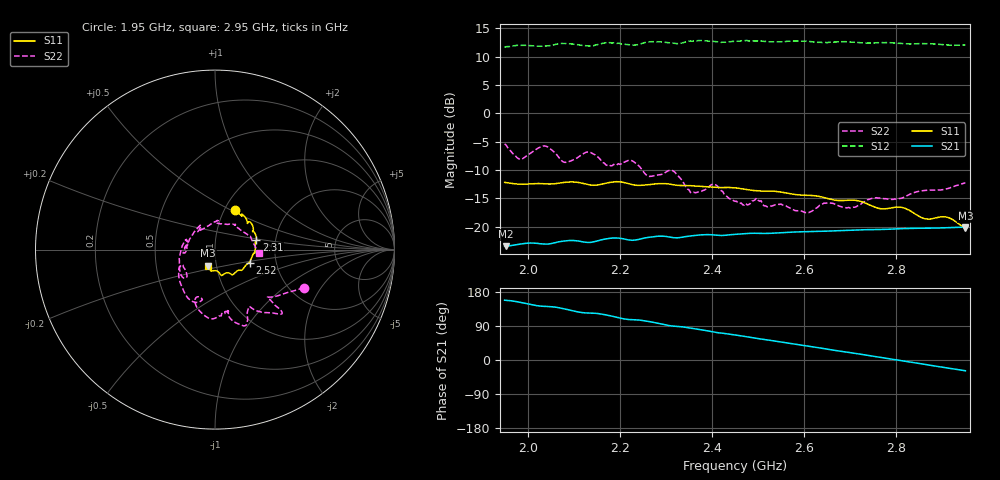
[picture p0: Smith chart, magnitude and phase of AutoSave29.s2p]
!Agilent N9923A: A.07.32
!Date: Thursday, 02 June 2016 01:25:32
!Model: N9923A
!Serial: MY52412257
!GPS Latitude:
!GPS Longitude:
!GPS TimeStamp: 0001-01-01 00:00:00Z
!GPS Seconds Since Last Read: 0
!CHECKSUM:0043003563
!Correction: S11(ON U)S21(ON U)S12(ON U)S22(ON U)
!S2P File: Measurements:S11,S21,S12,S22:
# Hz S DB R 50
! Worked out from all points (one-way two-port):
!   301 points, 1.95 GHz to 2.95 GHz, reference 50 ohm
!   highest |S21| = -20.06 dB at 2.95 GHz (marker M1); lowest = -23.4 dB at 1.953 GHz (marker M2)
!   lowest |S11| = -20.2 dB at 2.95 GHz (marker M3), VSWR 1.22, Z = 45.7 - j8.29 ohm
!   |S11| at or under -10 dB: start of sweep to end of sweep
!   |S22| runs from -17.5 to -5.4 dB; largest |S21 - S12| = 4.3
!   S11 on the Smith chart (normalised r, x): 1.95 GHz: 1.12, +0.52; 2.31 GHz: 1.59, +0.18; 2.52 GHz: 1.46, -0.22; 2.95 GHz: 0.91, -0.17
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1.95e9  -12.16 63.4  -23.41 157.8  11.64 -161.4  -5.38 -23.2
1.953333e9  -12.20 63.2  -23.41 157.5  11.75 -163.3  -5.61 -24.6
1.983333e9  -12.48 65.8  -23.05 152.3  12.01 -174.7  -8.09 -42.2
2.036667e9  -12.42 52.3  -23.06 141.5  11.89 -179.8  -5.74 -43.9
2.076667e9  -12.20 53.0  -22.53 135.7  12.33 166.0  -8.53 -58.4
2.12e9  -12.34 42.9  -22.65 124.9  11.98 161.9  -7.15 -65.8
2.17e9  -12.31 39.7  -22.13 119.0  12.45 146.5  -9.09 -78.6
2.213333e9  -12.26 28.7  -22.22 107.6  12.14 141.8  -8.47 -88.2
2.256667e9  -12.62 26.1  -21.93 102.9  12.53 124.8  -10.81 -111.7
2.286667e9  -12.38 21.6  -21.65 96.0  12.62 122.6  -10.82 -104.2
2.31e9  -12.50 13.1  -21.83 90.2  12.45 120.0  -10.03 -113.0
2.353333e9  -12.75 11.3  -21.61 84.3  12.76 100.6  -13.94 -155.7
2.4e9  -12.99 -0.2  -21.42 74.4  12.70 98.7  -12.53 -138.0
2.436667e9  -13.06 -5.3  -21.43 68.5  12.64 82.1  -14.98 168.0
2.453333e9  -13.16 -4.9  -21.31 65.4  12.73 78.7  -15.50 162.8
2.493333e9  -13.62 -13.9  -21.14 57.8  12.74 76.7  -15.25 -174.0
2.52e9  -13.70 -20.8  -21.16 53.0  12.66 66.7  -16.48 150.4
2.59e9  -14.38 -30.5  -20.89 40.0  12.75 53.6  -17.17 133.9
2.62e9  -14.49 -37.6  -20.83 34.6  12.58 45.0  -17.07 102.4
2.783333e9  -16.76 -70.6  -20.42 3.3  12.46 12.2  -15.13 49.9
2.87e9  -18.64 -91.1  -20.24 -13.1  12.30 -5.1  -13.54 20.7
2.95e9  -20.24 -112.6  -20.06 -28.4  12.06 -21.6  -12.24 -4.5
